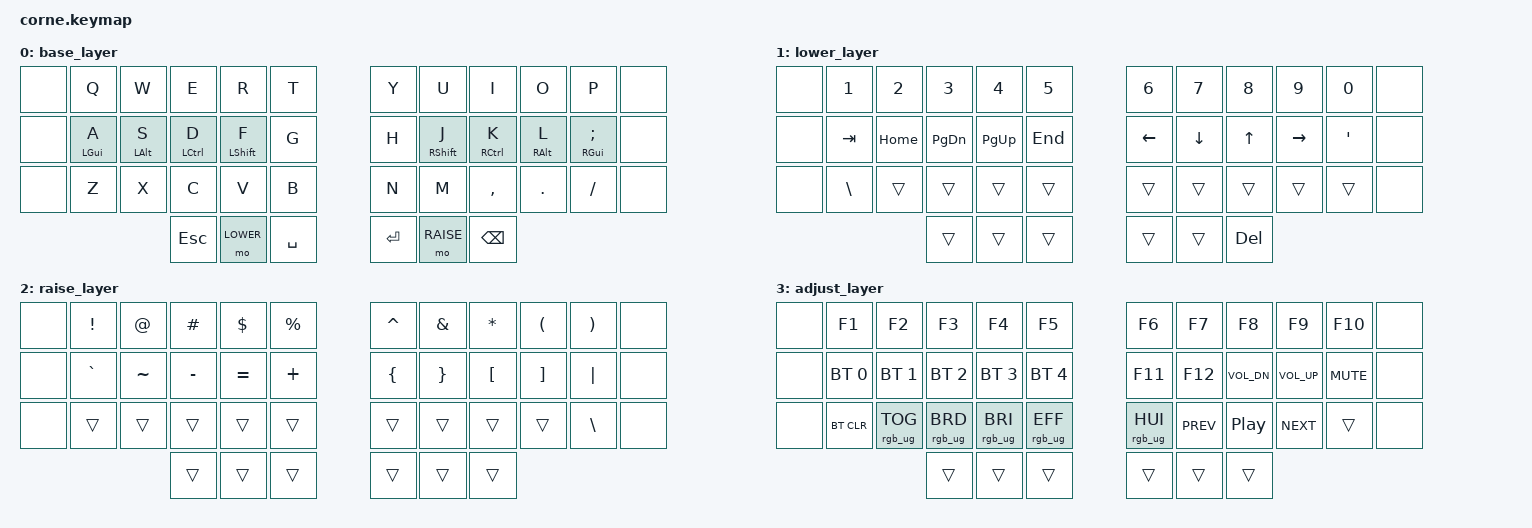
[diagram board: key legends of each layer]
/*
 * Corne 3x5+3 (36-key) keymap  Ergodox-inspired
 *
 * Layers:
 *   0  BASE   QWERTY with home-row mods (hold A/S/D/F = GUI/Alt/Ctrl/Shift)
 *   1  LOWER  Numbers + navigation (arrows on home row right)
 *   2  RAISE  Symbols + brackets
 *   3  ADJUST Function keys, Bluetooth, media  (hold LOWER+RAISE)
 *
 * Thumb cluster (left | right):
 *   ESC   LOWER  SPACE | ENTER  RAISE  BSPC
 */

#include <behaviors.dtsi>
#include <dt-bindings/zmk/keys.h>
#include <dt-bindings/zmk/bt.h>
#include <dt-bindings/zmk/rgb.h>

/* Override the default Corne LED chain length (10) to cover both the
 * 6 under-PCB underglow LEDs AND the per-switch LEDs. A fully populated
 * Corne has 27 LEDs per half.
 */
&led_strip {
    chain-length = <27>;
};

#define BASE   0
#define LOWER  1
#define RAISE  2
#define ADJUST 3

/ {
    behaviors {
        // Home-row mod: tap = letter, hold = modifier.
        // "tap-preferred" + prior-idle timing keeps fast typing clean.
        hm: homerow_mods {
            compatible = "zmk,behavior-hold-tap";
            #binding-cells = <2>;
            tapping-term-ms = <220>;
            quick-tap-ms = <175>;
            require-prior-idle-ms = <125>;
            flavor = "tap-preferred";
            bindings = <&kp>, <&kp>;
        };
    };

    conditional_layers {
        compatible = "zmk,conditional-layers";
        tri_layer {
            if-layers = <LOWER RAISE>;
            then-layer = <ADJUST>;
        };
    };

    keymap {
        compatible = "zmk,keymap";

        // -----------------------------------------------------------------------------------------
        // |   -   |  Q  |  W  |  E  |  R  |  T  |   |  Y  |  U  |  I  |  O  |  P  |   -   |
        // |   -   | A/⌘ | S/⌥ | D/^ | F/⇧ |  G  |   |  H  | J/⇧ | K/^ | L/⌥ | ;/⌘ |   -   |
        // |   -   |  Z  |  X  |  C  |  V  |  B  |   |  N  |  M  |  ,  |  .  |  /  |   -   |
        //                     | ESC |LOWR | SPC |   | RET |RAIS |BSPC |
        base_layer {
            bindings = <
&none   &kp Q       &kp W       &kp E        &kp R        &kp T          &kp Y    &kp U        &kp I        &kp O       &kp P             &none
&none   &hm LGUI A  &hm LALT S  &hm LCTRL D  &hm LSHFT F  &kp G          &kp H    &hm RSHFT J  &hm RCTRL K  &hm RALT L  &hm RGUI SEMI     &none
&none   &kp Z       &kp X       &kp C        &kp V        &kp B          &kp N    &kp M        &kp COMMA    &kp DOT     &kp FSLH          &none
                                &kp ESC      &mo LOWER    &kp SPACE      &kp RET  &mo RAISE    &kp BSPC
            >;
        };

        // Numbers on top row, nav cluster under the right hand (like Ergodox).
        // |   -   |  1  |  2  |  3  |  4  |  5  |   |  6  |  7  |  8  |  9  |  0  |   -   |
        // |   -   | TAB |HOME |PGDN |PGUP | END |   | LEFT|DOWN | UP  |RIGHT|  '  |   -   |
        // |   -   |  \  |     |     |     |     |   |     |     |     |     |     |   -   |
        //                     |     |     |     |   |     |     | DEL |
        lower_layer {
            bindings = <
&none   &kp N1      &kp N2      &kp N3       &kp N4       &kp N5         &kp N6   &kp N7       &kp N8       &kp N9      &kp N0            &none
&none   &kp TAB     &kp HOME    &kp PG_DN    &kp PG_UP    &kp END        &kp LEFT &kp DOWN     &kp UP       &kp RIGHT   &kp SQT           &none
&none   &kp BSLH    &trans      &trans       &trans       &trans         &trans   &trans       &trans       &trans      &trans            &none
                                &trans       &trans       &trans         &trans   &trans       &kp DEL
            >;
        };

        // Shifted numbers on top row, brackets + dashes on home row.
        // |   -   |  !  |  @  |  #  |  $  |  %  |   |  ^  |  &  |  *  |  (  |  )  |   -   |
        // |   -   |  `  |  ~  |  -  |  =  |  +  |   |  {  |  }  |  [  |  ]  |  |  |   -   |
        // |   -   |     |     |     |     |     |   |     |     |     |     |  \  |   -   |
        //                     |     |     |     |   |     |     |     |
        raise_layer {
            bindings = <
&none   &kp EXCL    &kp AT      &kp HASH     &kp DLLR     &kp PRCNT      &kp CARET &kp AMPS    &kp ASTRK    &kp LPAR    &kp RPAR          &none
&none   &kp GRAVE   &kp TILDE   &kp MINUS    &kp EQUAL    &kp PLUS       &kp LBRC  &kp RBRC    &kp LBKT     &kp RBKT    &kp PIPE          &none
&none   &trans      &trans      &trans       &trans       &trans         &trans    &trans      &trans       &trans      &kp BSLH          &none
                                &trans       &trans       &trans         &trans    &trans      &trans
            >;
        };

        // F-keys, Bluetooth profile switching, media controls, RGB.
        // Activated by holding LOWER + RAISE together.
        // |   -   | F1  | F2  | F3  | F4  | F5  |   | F6  | F7  | F8  | F9  | F10 |   -   |
        // |   -   |BT 0 |BT 1 |BT 2 |BT 3 |BT 4 |   | F11 | F12 |VOL- |VOL+ |MUTE |   -   |
        // |   -   |BTCLR|RGBTG|RGB- |RGB+ |RGBFX|   |RGBHU|PREV |PLAY |NEXT |     |   -   |
        //                     |     |     |     |   |     |     |     |
        //
        // RGBTG = toggle on/off    RGB- / RGB+ = brightness down / up
        // RGBFX = cycle effect     RGBHU       = cycle hue (color)
        adjust_layer {
            bindings = <
&none   &kp F1          &kp F2          &kp F3          &kp F4          &kp F5              &kp F6              &kp F7     &kp F8        &kp F9        &kp F10       &none
&none   &bt BT_SEL 0    &bt BT_SEL 1    &bt BT_SEL 2    &bt BT_SEL 3    &bt BT_SEL 4        &kp F11             &kp F12    &kp C_VOL_DN  &kp C_VOL_UP  &kp C_MUTE    &none
&none   &bt BT_CLR      &rgb_ug RGB_TOG &rgb_ug RGB_BRD &rgb_ug RGB_BRI &rgb_ug RGB_EFF     &rgb_ug RGB_HUI     &kp C_PREV &kp C_PP      &kp C_NEXT    &trans        &none
                                        &trans          &trans          &trans              &trans              &trans     &trans
            >;
        };
    };
};
